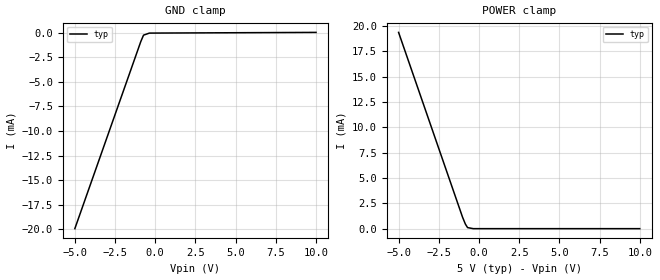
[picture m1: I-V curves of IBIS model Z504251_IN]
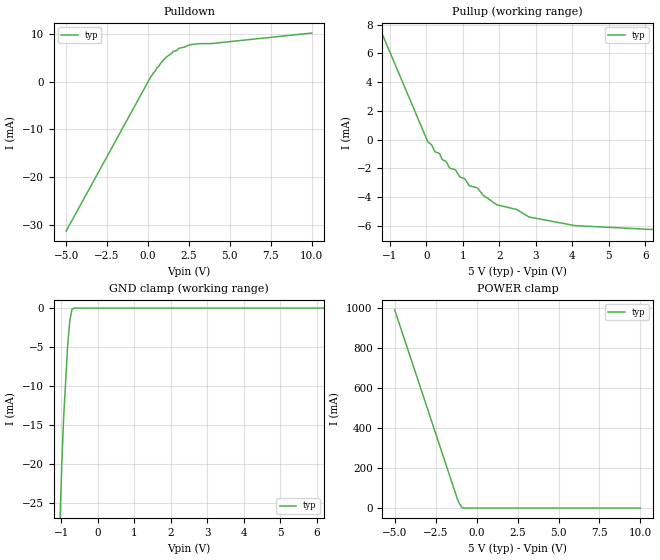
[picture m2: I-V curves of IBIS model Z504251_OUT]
| YOU ARE ONLY AUTHORIZED TO USE THIS SOFTWARE
| ACCORDING TO LICENSOR'S LICENSE RESTRICTIONS.
[IBIS Ver] 3.1
[File Name] mc74hc4543d.ibs
[File Rev] 2.0
[Source] Measured and created by ICX Technology
[Date] Friday 7/14/00 9:08:10 AM
[Copyright]
| (C) COPYRIGHT 1993-2000
| MENTOR GRAPHICS CORPORATION
| ICX STANDARD LIBRARY, ICX PROJECT MODELING,
| ICX CUSTOM MODELING, ICX VENDOR MODEL
| ALL RIGHTS RESERVED.
| THE FOLLOWING ARE TRADEMARKS OR SERVICE MARKS OF
| MENTOR GRAPHICS CORPORATION:ICX (R), ICX STANDARD
| LIBRARY(R), ICX PROJECT MODELING(R), ICX CUSTOM
| MODELING(R), qualityIBIS(TM), MODELVIEWER(TM),
| AND MODELEDITOR(TM)
| ALL COPIES OF SOFTWARE, INCLUDING BUT NOT LIMITED TO
| ANY MODIFICATIONS, ENHANCEMENTS OR DERIVATIVE WORKS,
| MUST CONTAIN ALL MENTOR GRAPHICS CORPORATION'S
| NOTICES AND LEGENDS, INCLUDING THOSE EMBEDDED IN
| SOFTWARE AND THOSE AFFIXED TO SOFTWARE MEDIUM
| AND CONTAINER, AS RECEIVED FROM MENTOR GRAPHICS
| CORPORATION.
|  ZAP Model Builder 2.7
[Component] MC74HC4543D
[Manufacturer] OnSemiconductor
[Package]
| variable   typ   min   max
R_pkg  .156ohms NA NA
L_pkg  3.148nH NA NA
C_pkg  .388pF NA NA
[Pin] signal_name  model_name  R_pin  L_pin C_pin
1 L Z504251_IN .162 3.798n .418p
2 D2 Z504251_IN .158 3.358n .398p
3 D1 Z504251_IN .154 2.928n .378p
4 D3 Z504251_IN .15 2.508n .358p
5 D0 Z504251_IN .15 2.508n .358p
6 PCLK Z504251_IN .154 2.928n .378p
7 BI Z504251_IN .158 3.358n .398p
8 GROUND GND .162 3.798n .418p
9 A Z504251_OUT .162 3.798n .418p
10 B Z504251_OUT .158 3.358n .398p
11 C Z504251_OUT .154 2.928n .378p
12 D Z504251_OUT .15 2.508n .358p
13 E Z504251_OUT .15 2.508n .358p
14 G Z504251_OUT .154 2.928n .378p
15 F Z504251_OUT .158 3.358n .398p
16 VCC POWER .162 3.798n .418p
| Models and submodels in the file (2): Z504251_IN (Input), Z504251_OUT (Output)
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| (C) COPYRIGHT 1993-2000
| MENTOR GRAPHICS CORPORATION
| ICX STANDARD LIBRARY, ICX PROJECT MODELING,
| ICX CUSTOM MODELING, ICX VENDOR MODEL
| ALL RIGHTS RESERVED.
| THE FOLLOWING ARE TRADEMARKS OR SERVICE MARKS OF
| MENTOR GRAPHICS CORPORATION:ICX (R), ICX STANDARD
| LIBRARY(R), ICX PROJECT MODELING(R), ICX CUSTOM
| MODELING(R), qualityIBIS(TM), MODELVIEWER(TM),
| AND MODELEDITOR(TM)
| ALL COPIES OF SOFTWARE, INCLUDING BUT NOT LIMITED TO
| ANY MODIFICATIONS, ENHANCEMENTS OR DERIVATIVE WORKS,
| MUST CONTAIN ALL MENTOR GRAPHICS CORPORATION'S
| NOTICES AND LEGENDS, INCLUDING THOSE EMBEDDED IN
| SOFTWARE AND THOSE AFFIXED TO SOFTWARE MEDIUM
| AND CONTAINER, AS RECEIVED FROM MENTOR GRAPHICS
| CORPORATION.
| Model Application Version 1.89 2/18/99.
[Model] Z504251_IN
Model_type Input
Vinl = 1.000V
Vinh = 3.500V
C_comp 4.000pF NA NA
| variable typ   min   max
[Voltage Range] 5.000V NA NA
[GND Clamp Reference] 0.000V NA NA
[POWER Clamp Reference] 5.000V NA NA
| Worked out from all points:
|   POWER clamp passes 1 mA (typ) near -0.99 V on its own axis
[GND Clamp]
-5V       -19.93mA   NA         NA
-898.4mV  -897uA     NA         NA
-728.5mV  -242.8uA   NA         NA
-364.3mV  -31.14uA   NA         NA
10V       39.5uA     NA         NA
[POWER Clamp]
-5V       19.37mA    NA         NA
-1.021V   1.127mA    NA         NA
-848mV    457.5uA    NA         NA
-710mV    105.8uA    NA         NA
-355mV    0A         NA         NA
10V       0A         NA         NA
| (C) COPYRIGHT 1993-2000
| MENTOR GRAPHICS CORPORATION
| ICX STANDARD LIBRARY, ICX PROJECT MODELING,
| ICX CUSTOM MODELING, ICX VENDOR MODEL
| ALL RIGHTS RESERVED.
| THE FOLLOWING ARE TRADEMARKS OR SERVICE MARKS OF
| MENTOR GRAPHICS CORPORATION:ICX (R), ICX STANDARD
| LIBRARY(R), ICX PROJECT MODELING(R), ICX CUSTOM
| MODELING(R), qualityIBIS(TM), MODELVIEWER(TM),
| AND MODELEDITOR(TM)
| ALL COPIES OF SOFTWARE, INCLUDING BUT NOT LIMITED TO
| ANY MODIFICATIONS, ENHANCEMENTS OR DERIVATIVE WORKS,
| MUST CONTAIN ALL MENTOR GRAPHICS CORPORATION'S
| NOTICES AND LEGENDS, INCLUDING THOSE EMBEDDED IN
| SOFTWARE AND THOSE AFFIXED TO SOFTWARE MEDIUM
| AND CONTAINER, AS RECEIVED FROM MENTOR GRAPHICS
| CORPORATION.
| Model Application Version 1.89 2/18/99.
[Model] Z504251_OUT
Model_type Output
Vref=0.000V
Rref=500.0Mohms
Cref=50.00pF
Vmeas=2.500V
C_comp 8.000pF NA NA
| variable typ   min   max
[Voltage Range] 5.000V NA NA
[POWER Clamp Reference] 5.000V NA NA
[Pullup Reference] 5.000V NA NA
[Pulldown Reference] 0.000V NA NA
[GND Clamp Reference] 0.000V NA NA
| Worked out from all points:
|   slope of the pulldown table from 0 to 0.75 V, typ, clamps not added: 200 ohm
|   slope of the pullup table from 0 to 0.75 V, typ, clamps not added: 345 ohm
|   GND clamp passes 1 mA (typ) near -0.74 V on its own axis
|   POWER clamp passes 1 mA (typ) near -0.84 V on its own axis
[GND Clamp]
-5V       -867.1mA   NA         NA
-1.103V   -37.93mA   NA         NA
-981.1mV  -19.93mA   NA         NA
-927.8mV  -13.75mA   NA         NA
-818.9mV  -4.645mA   NA         NA
-762.5mV  -1.624mA   NA         NA
-702.6mV  -143.5uA   NA         NA
-632.3mV  0A         NA         NA
10V       0A         NA         NA
[Pulldown]
-5V       -31.39mA   NA         NA
130.2mV   836.2uA    NA         NA
566.4mV   3.053mA    NA         NA
820.9mV   4.131mA    NA         NA
1.118V    5.224mA    NA         NA
1.44V     5.972mA    NA         NA
1.537V    6.431mA    NA         NA
1.756V    6.59mA     NA         NA
1.914V    7.098mA    NA         NA
2.592V    7.835mA    NA         NA
3.809V    8.046mA    NA         NA
10V       10.28mA    NA         NA
[Pullup]
-5V       30.23mA    NA         NA
42mV      -157.2uA   NA         NA
640mV     -1.992mA   NA         NA
801mV     -2.115mA   NA         NA
1.178V    -3.225mA   NA         NA
1.397V    -3.366mA   NA         NA
1.558V    -3.889mA   NA         NA
1.933V    -4.548mA   NA         NA
2.472V    -4.878mA   NA         NA
2.812V    -5.401mA   NA         NA
4.068V    -6.003mA   NA         NA
10V       -6.768mA   NA         NA
[POWER Clamp]
-5V       990.9mA    NA         NA
-1.162V   42.37mA    NA         NA
-1.045V   21.27mA    NA         NA
-902mV    4.478mA    NA         NA
-829mV    420.3uA    NA         NA
-759.9mV  0A         NA         NA
10V       0A         NA         NA
[Ramp]
| variable typ min max
dV/dt_r 1.488/3.744n NA NA
dV/dt_f 1.488/2.770n NA NA
R_load = 500.0Ohms
